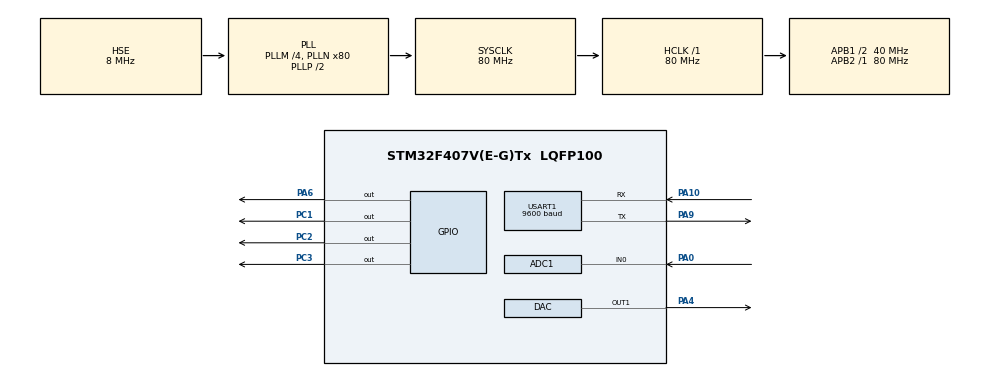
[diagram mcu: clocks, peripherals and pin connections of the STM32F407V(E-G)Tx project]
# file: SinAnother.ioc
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ADC1.Channel-0\#ChannelRegularConversion=ADC_CHANNEL_0
ADC1.ClockPrescaler=ADC_CLOCK_SYNC_PCLK_DIV4
ADC1.ContinuousConvMode=DISABLE
ADC1.EOCSelection=ADC_EOC_SEQ_CONV
ADC1.ExternalTrigConv=ADC_EXTERNALTRIGCONV_T3_TRGO
ADC1.NbrOfConversion=1
ADC1.NbrOfConversionFlag=1
ADC1.Rank-0\#ChannelRegularConversion=1
ADC1.SamplingTime-0\#ChannelRegularConversion=ADC_SAMPLETIME_3CYCLES
ADC1.ScanConvMode=DISABLE
ADC1.master=1
DAC.DAC_OutputBuffer=DAC_OUTPUTBUFFER_ENABLE
DAC.DAC_Trigger=DAC_TRIGGER_T2_TRGO
Dma.DAC1.0.Direction=DMA_MEMORY_TO_PERIPH
Dma.DAC1.0.FIFOMode=DMA_FIFOMODE_DISABLE
Dma.DAC1.0.Instance=DMA1_Stream5
Dma.DAC1.0.MemDataAlignment=DMA_MDATAALIGN_WORD
Dma.DAC1.0.MemInc=DMA_MINC_ENABLE
Dma.DAC1.0.Mode=DMA_NORMAL
Dma.DAC1.0.PeriphDataAlignment=DMA_PDATAALIGN_WORD
Dma.DAC1.0.PeriphInc=DMA_PINC_DISABLE
Dma.DAC1.0.Priority=DMA_PRIORITY_HIGH
Dma.Request0=DAC1
Mcu.Family=STM32F4
Mcu.Name=STM32F407V(E-G)Tx
Mcu.Package=LQFP100
NVIC.ADC_IRQn=true\:0\:0\:false\:false\:true\:true\:true\:true
NVIC.DMA1_Stream5_IRQn=true\:0\:0\:false\:false\:true\:false\:true\:true
NVIC.PriorityGroup=NVIC_PRIORITYGROUP_4
NVIC.TIM1_UP_TIM10_IRQn=true\:0\:0\:false\:false\:true\:true\:true\:true
PA0-WKUP.Signal=ADCx_IN0
PA10.Mode=Asynchronous
PA10.Signal=USART1_RX
PA4.Signal=COMP_DAC1_group
PA6.Signal=GPIO_Output
PA9.Mode=Asynchronous
PA9.Signal=USART1_TX
PC1.Signal=GPIO_Output
PC2.Signal=GPIO_Output
PC3.Signal=GPIO_Output
PH0-OSC_IN.Mode=HSE-External-Oscillator
PH0-OSC_IN.Signal=RCC_OSC_IN
PH1-OSC_OUT.Mode=HSE-External-Oscillator
PH1-OSC_OUT.Signal=RCC_OSC_OUT
ProjectManager.HeapSize=0x200
ProjectManager.StackSize=0x400
ProjectManager.TargetToolchain=MDK-ARM V5.32
RCC.48MHZClocksFreq_Value=40000000
RCC.AHBFreq_Value=80000000
RCC.APB1CLKDivider=RCC_HCLK_DIV2
RCC.APB1Freq_Value=40000000
RCC.APB1TimFreq_Value=80000000
RCC.APB2Freq_Value=80000000
RCC.APB2TimFreq_Value=80000000
RCC.CortexFreq_Value=80000000
RCC.HCLKFreq_Value=80000000
RCC.HSE_VALUE=8000000
RCC.HSI_VALUE=16000000
RCC.LSE_VALUE=32768
RCC.PLLM=4
RCC.PLLN=80
RCC.PLLSourceVirtual=RCC_PLLSOURCE_HSE
RCC.SYSCLKFreq_VALUE=80000000
RCC.SYSCLKSource=RCC_SYSCLKSOURCE_PLLCLK
RCC.VCOOutputFreq_Value=160000000
SH.ADCx_IN0.0=ADC1_IN0,IN0
SH.COMP_DAC1_group.0=DAC_OUT1,DAC_OUT1
TIM1.Period=3999
TIM1.Prescaler=9999
TIM2.Period=499 
TIM2.TIM_MasterOutputTrigger=TIM_TRGO_UPDATE
TIM3.Channel-PWM\ Generation1\ No\ Output=TIM_CHANNEL_1
TIM3.Period=499
TIM3.TIM_MasterOutputTrigger=TIM_TRGO_UPDATE
TIM8.Channel-PWM\ Generation1\ No\ Output=TIM_CHANNEL_1
TIM8.Period=499
TIM8.Prescaler=0
TIM8.TIM_MasterOutputTrigger=TIM_TRGO_UPDATE
USART1.BaudRate=9600
USART1.Mode=MODE_TX_RX
USART1.VirtualMode=VM_ASYNC
VP_TIM1_VS_ClockSourceINT.Mode=Internal
VP_TIM2_VS_ClockSourceINT.Mode=Internal
VP_TIM3_VS_ClockSourceINT.Mode=Internal
VP_TIM3_VS_no_output1.Mode=PWM Generation1 No Output
VP_TIM8_VS_ClockSourceINT.Mode=Internal
VP_TIM8_VS_no_output1.Mode=PWM Generation1 No Output
board=custom

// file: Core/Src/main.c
/* USER CODE BEGIN Header */
/**
  ******************************************************************************
  * @file           : main.c
  * @brief          : Main program body
  ******************************************************************************
  * @attention
  *
  * Copyright (c) 2022 STMicroelectronics.
  * All rights reserved.
  *
  * This software is licensed under terms that can be found in the LICENSE file
  * in the root directory of this software component.
  * If no LICENSE file comes with this software, it is provided AS-IS.
  *
  ******************************************************************************
  */
/* USER CODE END Header */
#include "main.h"

/* USER CODE BEGIN Includes */
#include "math.h"

/* USER CODE END Includes */

/* USER CODE BEGIN PD */
#define MasSize 416
#define ADCIn MasSize + 200
/* USER CODE END PD */

ADC_HandleTypeDef hadc1;

DAC_HandleTypeDef hdac;
DMA_HandleTypeDef hdma_dac1;

TIM_HandleTypeDef htim1;
TIM_HandleTypeDef htim2;
TIM_HandleTypeDef htim3;
TIM_HandleTypeDef htim8;

UART_HandleTypeDef huart1;

/* USER CODE BEGIN PV */
const uint32_t Bark[MasSize] = {1736,2075,2400,2700,2964,3179,3340,3439,3472,3439,3340,3179,2964,2700,2400,2075,1736,1397,1072,772,508,293,132,33,0,33,132,293,508,772,1072,1397,1736,2075,2400,2700,2964,3179,3340,3439,3472,3439,3340,3179,2964,2700,2400,2075,1736,1397,1072,772,508,293,132,33,0,33,132,293,508,772,1072,1397,1736,2075,2400,2700,2964,3179,3340,3439,3472,3439,3340,3179,2964,2700,2400,2075,1736,1397,1072,772,508,293,132,33,0,33,132,293,508,772,1072,1397,1736,2075,2400,2700,2964,3179,3340,3439,3472,3439,3340,3179,2964,2700,2400,2075,1736,1397,1072,772,508,293,132,33,0,33,132,293,508,772,1072,1397,1736,2075,2400,2700,2964,3179,3340,3439,3472,3439,3340,3179,2964,2700,2400,2075,1736,1397,1072,772,508,293,132,33,0,33,132,293,508,772,1072,1397,1736,1397,1072,772,508,293,132,33,0,33,132,293,508,772,1072,1397,1736,2075,2400,2700,2964,3179,3340,3439,3472,3439,3340,3179,2964,2700,2400,2075,1736,1397,1072,772,508,293,132,33,0,33,132,293,508,772,1072,1397,1736,2075,2400,2700,2964,3179,3340,3439,3472,3439,3340,3179,2964,2700,2400,2075,1736,2075,2400,2700,2964,3179,3340,3439,3472,3439,3340,3179,2964,2700,2400,2075,1736,1397,1072,772,508,293,132,33,0,33,132,293,508,772,1072,1397,1736,2075,2400,2700,2964,3179,3340,3439,3472,3439,3340,3179,2964,2700,2400,2075,1736,1397,1072,772,508,293,132,33,0,33,132,293,508,772,1072,1397,1736,1397,1072,772,508,293,132,33,0,33,132,293,508,772,1072,1397,1736,2075,2400,2700,2964,3179,3340,3439,3472,3439,3340,3179,2964,2700,2400,2075,1736,2075,2400,2700,2964,3179,3340,3439,3472,3439,3340,3179,2964,2700,2400,2075,1736,1397,1072,772,508,293,132,33,0,33,132,293,508,772,1072,1397,1736,1397,1072,772,508,293,132,33,0,33,132,293,508,772,1072,1397,1736,2075,2400,2700,2964,3179,3340,3439,3472,3439,3340,3179,2964,2700,2400,2075,1736,2075,2400,2700,2964,3179,3340,3439,3472,3439,3340,3179,2964,2700,2400,2075,1736,1397,1072,772,508,293,132,33,0,33,132,293,508,772,1072,1397};
int32_t buff[ADCIn];
uint16_t num = 0;
volatile int32_t corr = 0;
volatile uint16_t distance = 0;
uint8_t speakerNum = 1;
unsigned char a, buf[3];
unsigned char micdebug[4];
volatile int32_t debug1 = 0;
/* USER CODE END PV */

void SystemClock_Config(void);
static void MX_GPIO_Init(void);
static void MX_DMA_Init(void);
static void MX_DAC_Init(void);
static void MX_TIM2_Init(void);
static void MX_TIM1_Init(void);
static void MX_ADC1_Init(void);
static void MX_TIM8_Init(void);
static void MX_USART1_UART_Init(void);
static void MX_TIM3_Init(void);
/* USER CODE BEGIN PFP */
void autocorr(int32_t *mas1,const uint32_t *mas2);
int32_t calculateAverage(int32_t *mas1, int32_t length);
/* USER CODE END PFP */

int main(void)
{

  /* MCU Configuration--------------------------------------------------------*/

  /* Reset of all peripherals, Initializes the Flash interface and the Systick. */
  HAL_Init();

  /* Configure the system clock */
  SystemClock_Config();

  /* Initialize all configured peripherals */
  MX_GPIO_Init();
  MX_DMA_Init();
  MX_DAC_Init();
  MX_TIM2_Init();
  MX_TIM1_Init();
  MX_ADC1_Init();
  MX_TIM8_Init();
  MX_USART1_UART_Init();
  MX_TIM3_Init();
  /* USER CODE BEGIN 2 */

  //Включаем первый динамик
  HAL_GPIO_WritePin(GPIOC, GPIO_PIN_1, GPIO_PIN_SET);
  HAL_GPIO_WritePin(GPIOC, GPIO_PIN_2, GPIO_PIN_RESET);
  HAL_GPIO_WritePin(GPIOC, GPIO_PIN_3, GPIO_PIN_RESET);
  HAL_Delay(1000);
  //�?нициализируем DMA
  HAL_TIM_Base_Start(&htim2);
  HAL_DAC_Start_DMA(&hdac, DAC_CHANNEL_1, (uint32_t*)Bark, MasSize, DAC_ALIGN_12B_R);

  //�?нициализируем ADC
  HAL_ADC_Start_IT(&hadc1);
  HAL_TIM_PWM_Start(&htim3, TIM_CHANNEL_1);

  //Включаем таймер, который отвечает за частоту измерения расстояний
  //HAL_TIM_Base_Start_IT(&htim1);

  /* USER CODE END 2 */

  /* Infinite loop */
  /* USER CODE BEGIN WHILE */
  while (1)
  {
//      debug1 = 0;
      if(num==ADCIn)
      {
//          for(uint16_t c = 0;c<ADCIn;c++)
//          {
//              debug1 = -buff[c];
//              HAL_Delay(3);
//          }

          //Передача значений принятых с микрофона по UART. Раскоментировать при отладке.
          /*
          for(uint16_t c = 0;c<ADCIn;c++)
          {
              debug1 = buff[c];
              for( a=0; a<4; a++ ) micdebug[a] = '0';
              while( debug1>=1000 )    { micdebug[0]++; debug1 = debug1-1000; }
              while( debug1>=100 )     { micdebug[1]++; debug1 = debug1-100; }
              while( debug1>=10 )      { micdebug[2]++; debug1 = debug1-10; }
              micdebug[3] += debug1;
              HAL_UART_Transmit(&huart1,(uint8_t*)micdebug, a, 1000);
              HAL_UART_Transmit(&huart1,"\n", 1, 1000);
          }
          */
          //Конец сегмента для отладки

          //Вычисление постоянной составляющей и взаимной корреляции

          int32_t mean = calculateAverage(buff,ADCIn);
          for(uint16_t c = 0;c<ADCIn;c++)
          {
              buff[c] = buff[c]-mean;
          }
          autocorr(buff,Bark);

          //Конец сегмента

          num=0;

          //Пересылка расстояния по UART. Закоментировать при отладке

          for( a=0; a<3; a++ ) buf[a] = '0';
          while( distance>=100 )     { buf[0]++; distance = distance-100; }
          while( distance>=10 )       { buf[1]++; distance = distance-10; }
          buf[2] += distance;

          if (speakerNum==0){HAL_UART_Transmit(&huart1,"s\n", 2, 1000);}
          HAL_UART_Transmit(&huart1,(uint8_t*)buf, a, 1000);
          HAL_UART_Transmit(&huart1,"\n", 1, 1000);
          HAL_Delay(30);

          //Конец сегмента передачи расстояния по UART

          //Переключаем светодиод для индикации следующего замера
          HAL_GPIO_TogglePin(GPIOA,GPIO_PIN_6);

          //Выбираем следующий динамик (необходимо раскоментировать необходимое)

          /*(1)Переключение динамиков (основной режим работы*/
          speakerNum++;
          /*(2)Только первый*/
          //speakerNum=0;
          /*(3)Только второй-*/
          //speakerNum=1;
          /*(4)Только третий-*/
          //speakerNum=2;

          if (speakerNum > 2){speakerNum = 0;}

          //Включаем необходимый динамик
          switch(speakerNum)
          {
          case 0:
              HAL_GPIO_WritePin(GPIOC, GPIO_PIN_1, GPIO_PIN_SET);
              break;
          case 1:
              HAL_GPIO_WritePin(GPIOC, GPIO_PIN_2, GPIO_PIN_SET);
              break;
          case 2:
              HAL_GPIO_WritePin(GPIOC, GPIO_PIN_3, GPIO_PIN_SET);
              break;
          default :
              break;
          }

          //Повторно запускаем DMA
          HAL_DAC_Start_DMA(&hdac, DAC_CHANNEL_1, (uint32_t*)Bark, MasSize, DAC_ALIGN_12B_R);
          //Повторно запускаем ADC
          HAL_ADC_Start_IT(&hadc1);
      }
    /* USER CODE END WHILE */

  }
}

void SystemClock_Config(void)
{
  RCC_OscInitTypeDef RCC_OscInitStruct = {0};
  RCC_ClkInitTypeDef RCC_ClkInitStruct = {0};

  /** Configure the main internal regulator output voltage
  */
  __HAL_RCC_PWR_CLK_ENABLE();
  __HAL_PWR_VOLTAGESCALING_CONFIG(PWR_REGULATOR_VOLTAGE_SCALE1);

  /** Initializes the RCC Oscillators according to the specified parameters
  * in the RCC_OscInitTypeDef structure.
  */
  RCC_OscInitStruct.OscillatorType = RCC_OSCILLATORTYPE_HSE;
  RCC_OscInitStruct.HSEState = RCC_HSE_ON;
  RCC_OscInitStruct.PLL.PLLState = RCC_PLL_ON;
  RCC_OscInitStruct.PLL.PLLSource = RCC_PLLSOURCE_HSE;
  RCC_OscInitStruct.PLL.PLLM = 4;
  RCC_OscInitStruct.PLL.PLLN = 80;
  RCC_OscInitStruct.PLL.PLLP = RCC_PLLP_DIV2;
  RCC_OscInitStruct.PLL.PLLQ = 4;
  if (HAL_RCC_OscConfig(&RCC_OscInitStruct) != HAL_OK)
  {
    Error_Handler();
  }

  /** Initializes the CPU, AHB and APB buses clocks
  */
  RCC_ClkInitStruct.ClockType = RCC_CLOCKTYPE_HCLK|RCC_CLOCKTYPE_SYSCLK
                              |RCC_CLOCKTYPE_PCLK1|RCC_CLOCKTYPE_PCLK2;
  RCC_ClkInitStruct.SYSCLKSource = RCC_SYSCLKSOURCE_PLLCLK;
  RCC_ClkInitStruct.AHBCLKDivider = RCC_SYSCLK_DIV1;
  RCC_ClkInitStruct.APB1CLKDivider = RCC_HCLK_DIV2;
  RCC_ClkInitStruct.APB2CLKDivider = RCC_HCLK_DIV1;

  if (HAL_RCC_ClockConfig(&RCC_ClkInitStruct, FLASH_LATENCY_2) != HAL_OK)
  {
    Error_Handler();
  }
}

static void MX_ADC1_Init(void)
{

  ADC_ChannelConfTypeDef sConfig = {0};

  /** Configure the global features of the ADC (Clock, Resolution, Data Alignment and number of conversion)
  */
  hadc1.Instance = ADC1;
  hadc1.Init.ClockPrescaler = ADC_CLOCK_SYNC_PCLK_DIV4;
  hadc1.Init.Resolution = ADC_RESOLUTION_12B;
  hadc1.Init.ScanConvMode = DISABLE;
  hadc1.Init.ContinuousConvMode = DISABLE;
  hadc1.Init.DiscontinuousConvMode = DISABLE;
  hadc1.Init.ExternalTrigConvEdge = ADC_EXTERNALTRIGCONVEDGE_RISING;
  hadc1.Init.ExternalTrigConv = ADC_EXTERNALTRIGCONV_T3_TRGO;
  hadc1.Init.DataAlign = ADC_DATAALIGN_RIGHT;
  hadc1.Init.NbrOfConversion = 1;
  hadc1.Init.DMAContinuousRequests = DISABLE;
  hadc1.Init.EOCSelection = ADC_EOC_SEQ_CONV;
  if (HAL_ADC_Init(&hadc1) != HAL_OK)
  {
    Error_Handler();
  }

  /** Configure for the selected ADC regular channel its corresponding rank in the sequencer and its sample time.
  */
  sConfig.Channel = ADC_CHANNEL_0;
  sConfig.Rank = 1;
  sConfig.SamplingTime = ADC_SAMPLETIME_3CYCLES;
  if (HAL_ADC_ConfigChannel(&hadc1, &sConfig) != HAL_OK)
  {
    Error_Handler();
  }

}

static void MX_DAC_Init(void)
{

  DAC_ChannelConfTypeDef sConfig = {0};

  /** DAC Initialization
  */
  hdac.Instance = DAC;
  if (HAL_DAC_Init(&hdac) != HAL_OK)
  {
    Error_Handler();
  }

  /** DAC channel OUT1 config
  */
  sConfig.DAC_Trigger = DAC_TRIGGER_T2_TRGO;
  sConfig.DAC_OutputBuffer = DAC_OUTPUTBUFFER_ENABLE;
  if (HAL_DAC_ConfigChannel(&hdac, &sConfig, DAC_CHANNEL_1) != HAL_OK)
  {
    Error_Handler();
  }

}

static void MX_TIM1_Init(void)
{

  TIM_ClockConfigTypeDef sClockSourceConfig = {0};
  TIM_MasterConfigTypeDef sMasterConfig = {0};

  htim1.Instance = TIM1;
  htim1.Init.Prescaler = 9999;
  htim1.Init.CounterMode = TIM_COUNTERMODE_UP;
  htim1.Init.Period = 3999;
  htim1.Init.ClockDivision = TIM_CLOCKDIVISION_DIV1;
  htim1.Init.RepetitionCounter = 0;
  htim1.Init.AutoReloadPreload = TIM_AUTORELOAD_PRELOAD_DISABLE;
  if (HAL_TIM_Base_Init(&htim1) != HAL_OK)
  {
    Error_Handler();
  }
  sClockSourceConfig.ClockSource = TIM_CLOCKSOURCE_INTERNAL;
  if (HAL_TIM_ConfigClockSource(&htim1, &sClockSourceConfig) != HAL_OK)
  {
    Error_Handler();
  }
  sMasterConfig.MasterOutputTrigger = TIM_TRGO_RESET;
  sMasterConfig.MasterSlaveMode = TIM_MASTERSLAVEMODE_DISABLE;
  if (HAL_TIMEx_MasterConfigSynchronization(&htim1, &sMasterConfig) != HAL_OK)
  {
    Error_Handler();
  }

}

static void MX_TIM2_Init(void)
{

  TIM_ClockConfigTypeDef sClockSourceConfig = {0};
  TIM_MasterConfigTypeDef sMasterConfig = {0};

  htim2.Instance = TIM2;
  htim2.Init.Prescaler = 0;
  htim2.Init.CounterMode = TIM_COUNTERMODE_UP;
  htim2.Init.Period = 499 ;
  htim2.Init.ClockDivision = TIM_CLOCKDIVISION_DIV1;
  htim2.Init.AutoReloadPreload = TIM_AUTORELOAD_PRELOAD_DISABLE;
  if (HAL_TIM_Base_Init(&htim2) != HAL_OK)
  {
    Error_Handler();
  }
  sClockSourceConfig.ClockSource = TIM_CLOCKSOURCE_INTERNAL;
  if (HAL_TIM_ConfigClockSource(&htim2, &sClockSourceConfig) != HAL_OK)
  {
    Error_Handler();
  }
  sMasterConfig.MasterOutputTrigger = TIM_TRGO_UPDATE;
  sMasterConfig.MasterSlaveMode = TIM_MASTERSLAVEMODE_DISABLE;
  if (HAL_TIMEx_MasterConfigSynchronization(&htim2, &sMasterConfig) != HAL_OK)
  {
    Error_Handler();
  }

}

static void MX_TIM3_Init(void)
{

  TIM_ClockConfigTypeDef sClockSourceConfig = {0};
  TIM_MasterConfigTypeDef sMasterConfig = {0};
  TIM_OC_InitTypeDef sConfigOC = {0};

  htim3.Instance = TIM3;
  htim3.Init.Prescaler = 0;
  htim3.Init.CounterMode = TIM_COUNTERMODE_UP;
  htim3.Init.Period = 499;
  htim3.Init.ClockDivision = TIM_CLOCKDIVISION_DIV1;
  htim3.Init.AutoReloadPreload = TIM_AUTORELOAD_PRELOAD_DISABLE;
  if (HAL_TIM_Base_Init(&htim3) != HAL_OK)
  {
    Error_Handler();
  }
  sClockSourceConfig.ClockSource = TIM_CLOCKSOURCE_INTERNAL;
  if (HAL_TIM_ConfigClockSource(&htim3, &sClockSourceConfig) != HAL_OK)
  {
    Error_Handler();
  }
  if (HAL_TIM_PWM_Init(&htim3) != HAL_OK)
  {
    Error_Handler();
  }
  sMasterConfig.MasterOutputTrigger = TIM_TRGO_UPDATE;
  sMasterConfig.MasterSlaveMode = TIM_MASTERSLAVEMODE_DISABLE;
  if (HAL_TIMEx_MasterConfigSynchronization(&htim3, &sMasterConfig) != HAL_OK)
  {
    Error_Handler();
  }
  sConfigOC.OCMode = TIM_OCMODE_PWM1;
  sConfigOC.Pulse = 0;
  sConfigOC.OCPolarity = TIM_OCPOLARITY_HIGH;
  sConfigOC.OCFastMode = TIM_OCFAST_DISABLE;
  if (HAL_TIM_PWM_ConfigChannel(&htim3, &sConfigOC, TIM_CHANNEL_1) != HAL_OK)
  {
    Error_Handler();
  }

}

static void MX_TIM8_Init(void)
{

  TIM_ClockConfigTypeDef sClockSourceConfig = {0};
  TIM_MasterConfigTypeDef sMasterConfig = {0};
  TIM_OC_InitTypeDef sConfigOC = {0};
  TIM_BreakDeadTimeConfigTypeDef sBreakDeadTimeConfig = {0};

  htim8.Instance = TIM8;
  htim8.Init.Prescaler = 0;
  htim8.Init.CounterMode = TIM_COUNTERMODE_UP;
  htim8.Init.Period = 499;
  htim8.Init.ClockDivision = TIM_CLOCKDIVISION_DIV1;
  htim8.Init.RepetitionCounter = 0;
  htim8.Init.AutoReloadPreload = TIM_AUTORELOAD_PRELOAD_DISABLE;
  if (HAL_TIM_Base_Init(&htim8) != HAL_OK)
  {
    Error_Handler();
  }
  sClockSourceConfig.ClockSource = TIM_CLOCKSOURCE_INTERNAL;
  if (HAL_TIM_ConfigClockSource(&htim8, &sClockSourceConfig) != HAL_OK)
  {
    Error_Handler();
  }
  if (HAL_TIM_PWM_Init(&htim8) != HAL_OK)
  {
    Error_Handler();
  }
  sMasterConfig.MasterOutputTrigger = TIM_TRGO_UPDATE;
  sMasterConfig.MasterSlaveMode = TIM_MASTERSLAVEMODE_DISABLE;
  if (HAL_TIMEx_MasterConfigSynchronization(&htim8, &sMasterConfig) != HAL_OK)
  {
    Error_Handler();
  }
  sConfigOC.OCMode = TIM_OCMODE_PWM1;
  sConfigOC.Pulse = 0;
  sConfigOC.OCPolarity = TIM_OCPOLARITY_HIGH;
  sConfigOC.OCNPolarity = TIM_OCNPOLARITY_HIGH;
  sConfigOC.OCFastMode = TIM_OCFAST_DISABLE;
  sConfigOC.OCIdleState = TIM_OCIDLESTATE_RESET;
  sConfigOC.OCNIdleState = TIM_OCNIDLESTATE_RESET;
  if (HAL_TIM_PWM_ConfigChannel(&htim8, &sConfigOC, TIM_CHANNEL_1) != HAL_OK)
  {
    Error_Handler();
  }
  sBreakDeadTimeConfig.OffStateRunMode = TIM_OSSR_DISABLE;
  sBreakDeadTimeConfig.OffStateIDLEMode = TIM_OSSI_DISABLE;
  sBreakDeadTimeConfig.LockLevel = TIM_LOCKLEVEL_OFF;
  sBreakDeadTimeConfig.DeadTime = 0;
  sBreakDeadTimeConfig.BreakState = TIM_BREAK_DISABLE;
  sBreakDeadTimeConfig.BreakPolarity = TIM_BREAKPOLARITY_HIGH;
  sBreakDeadTimeConfig.AutomaticOutput = TIM_AUTOMATICOUTPUT_DISABLE;
  if (HAL_TIMEx_ConfigBreakDeadTime(&htim8, &sBreakDeadTimeConfig) != HAL_OK)
  {
    Error_Handler();
  }

}

static void MX_USART1_UART_Init(void)
{

  huart1.Instance = USART1;
  huart1.Init.BaudRate = 9600;
  huart1.Init.WordLength = UART_WORDLENGTH_8B;
  huart1.Init.StopBits = UART_STOPBITS_1;
  huart1.Init.Parity = UART_PARITY_NONE;
  huart1.Init.Mode = UART_MODE_TX_RX;
  huart1.Init.HwFlowCtl = UART_HWCONTROL_NONE;
  huart1.Init.OverSampling = UART_OVERSAMPLING_16;
  if (HAL_UART_Init(&huart1) != HAL_OK)
  {
    Error_Handler();
  }

}

static void MX_DMA_Init(void)
{

  /* DMA controller clock enable */
  __HAL_RCC_DMA1_CLK_ENABLE();

  /* DMA interrupt init */
  /* DMA1_Stream5_IRQn interrupt configuration */
  HAL_NVIC_SetPriority(DMA1_Stream5_IRQn, 0, 0);
  HAL_NVIC_EnableIRQ(DMA1_Stream5_IRQn);

}

static void MX_GPIO_Init(void)
{
  GPIO_InitTypeDef GPIO_InitStruct = {0};

  /* GPIO Ports Clock Enable */
  __HAL_RCC_GPIOH_CLK_ENABLE();
  __HAL_RCC_GPIOC_CLK_ENABLE();
  __HAL_RCC_GPIOA_CLK_ENABLE();

  /*Configure GPIO pin Output Level */
  HAL_GPIO_WritePin(GPIOC, GPIO_PIN_1|GPIO_PIN_2|GPIO_PIN_3, GPIO_PIN_RESET);

  /*Configure GPIO pin Output Level */
  HAL_GPIO_WritePin(GPIOA, GPIO_PIN_6, GPIO_PIN_RESET);

  /*Configure GPIO pins : PC1 PC2 PC3 */
  GPIO_InitStruct.Pin = GPIO_PIN_1|GPIO_PIN_2|GPIO_PIN_3;
  GPIO_InitStruct.Mode = GPIO_MODE_OUTPUT_PP;
  GPIO_InitStruct.Pull = GPIO_NOPULL;
  GPIO_InitStruct.Speed = GPIO_SPEED_FREQ_LOW;
  HAL_GPIO_Init(GPIOC, &GPIO_InitStruct);

  /*Configure GPIO pin : PA6 */
  GPIO_InitStruct.Pin = GPIO_PIN_6;
  GPIO_InitStruct.Mode = GPIO_MODE_OUTPUT_PP;
  GPIO_InitStruct.Pull = GPIO_NOPULL;
  GPIO_InitStruct.Speed = GPIO_SPEED_FREQ_LOW;
  HAL_GPIO_Init(GPIOA, &GPIO_InitStruct);

}

/* USER CODE BEGIN 4 */
//                        buff Bark
void autocorr(int32_t *mas1,const uint32_t *mas2)
{

    volatile int32_t maxcorr = 0;

    volatile int32_t ans = 0;

    volatile int32_t sdvig = 0;
    for(uint16_t t = 0; t<ADCIn; t++)
    {
        volatile int32_t vnutr = 0;
        for(volatile uint16_t i = 0;i<MasSize;i++)
        {
            sdvig = i+t;
            if(sdvig<ADCIn)
            {
            //vnutr=vnutr+(-mas1[sdvig])*((int16_t)mas2[i]-(4095-500));
            vnutr=vnutr+(mas1[sdvig])*((int16_t)mas2[i]-1736);
            }
        }
        corr = vnutr;
        if(corr>maxcorr){maxcorr=corr;ans=t;}
    }
    distance=round(ans*33/16);
}

int32_t calculateAverage(int32_t *mas1, int32_t length) {
    int sum = 0;
    for (int i = 0; i < length; i++) {
        sum += mas1[i];
    }
    int average = sum / length;
    return average;
}
void HAL_ADC_ConvCpltCallback(ADC_HandleTypeDef* hadc)

{
if(hadc->Instance == ADC1) //check if the interrupt comes from ACD1
    {
            //Заполняем массив значениями с микрофона
            if(num<(ADCIn))
            {
                buff[num]=HAL_ADC_GetValue(&hadc1);
                num++;
            }
            else
            {

            //Приостанавливаем передачу и прием данных
            HAL_GPIO_WritePin(GPIOC, GPIO_PIN_1, GPIO_PIN_RESET);
            HAL_GPIO_WritePin(GPIOC, GPIO_PIN_2, GPIO_PIN_RESET);
            HAL_GPIO_WritePin(GPIOC, GPIO_PIN_3, GPIO_PIN_RESET);

            //HAL_DAC_Stop_DMA(&hdac, DAC_CHANNEL_1);
            HAL_ADC_Stop_IT(&hadc1);
            }
    }
}
void HAL_TIM_PeriodElapsedCallback(TIM_HandleTypeDef *htim)
{
    if (htim->Instance==TIM1)
    {
       /*
       num=0;

       //Переключаем светодиод для индикации следующего замера
       HAL_GPIO_TogglePin(GPIOA,GPIO_PIN_6);

       //Включаем необходимый динамик
       switch(speakerNum)
       {
       case 0:
           HAL_GPIO_WritePin(GPIOC, GPIO_PIN_1, GPIO_PIN_SET);
           break;
       case 1:
           HAL_GPIO_WritePin(GPIOC, GPIO_PIN_2, GPIO_PIN_SET);
           break;
       case 2:
           HAL_GPIO_WritePin(GPIOC, GPIO_PIN_3, GPIO_PIN_SET);
           break;
       default :
           break;
       }

       //speakerNum++;
       speakerNum=0;
       if (speakerNum > 2){speakerNum = 0;}

       //Повторно запускаем DMA
       HAL_DAC_Start_DMA(&hdac, DAC_CHANNEL_1, (uint32_t*)Bark, MasSize, DAC_ALIGN_12B_R);
       //Повторно запускаем ADC
       HAL_ADC_Start_IT(&hadc1);
       */
    }
}
/* USER CODE END 4 */

void Error_Handler(void)
{
  __disable_irq();
  while (1)
  {
  }
}
